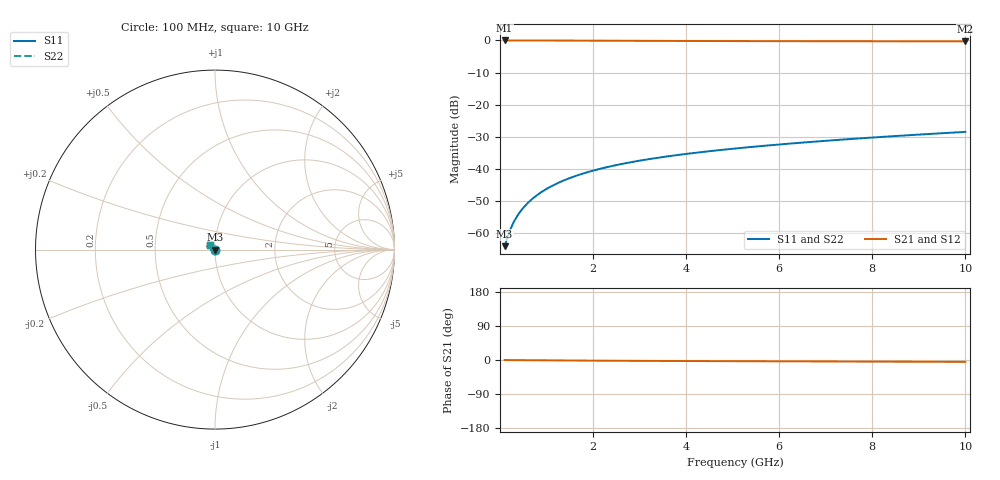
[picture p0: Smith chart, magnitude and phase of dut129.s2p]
! Touchstone file exported from HFSS 2024.1.0
!  File:  C:/UserFiles/LocalFiles/RDL_TSV_Batchsim/temp_TSV1_129_1779379394.aedt
!  Generated:  12:08:48 AM May 22, 2026
!  Design:  TSV1
!  Project:  temp_TSV1_129_1779379394
!  Setup:  Setup1
!  Solution:  Sweep
! Variables:
!  dtsv = 5.73um
!  hbump = 3um
!  htsv = 69.46um
!  lrdl = 252.1521522um
!  p = 40
!  p1 = 54.83um
!  t = 500um
!  trdl = 3um
!  wrdl = 24.89489489um
# GHz S MA R 50.000000
! Terminal data exported
! Port[1] = TSV22_T1
! Port[2] = TSV22_T2
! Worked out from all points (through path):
!   100 points, 100 MHz to 10 GHz, reference 50 ohm
!   highest |S21| = 0.00 dB at 100 MHz (marker M1); lowest = -0.3 dB at 10 GHz (marker M2)
!   lowest |S11| = -64.1 dB at 100 MHz (marker M3), VSWR 1.00, Z = 50 - j0.0504 ohm
!   |S11| at or under -10 dB: start of sweep to end of sweep
!   |S22| runs from -64.1 to -28.5 dB; largest |S21 - S12| = 6.1e-15
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0.1  0.000624 -53.8  0.9996 -0.1  0.9996 -0.1  0.000624 -53.8
! Gamma 0 0 0 0
! Port Impedance 50 0 50 0
0.2  0.001047 -73.5  0.9995 -0.2  0.9995 -0.2  0.001047 -73.5
0.3  0.00151 -83.2  0.9994 -0.3  0.9994 -0.3  0.00151 -83.2
0.4  0.001985 -89.5  0.9992 -0.4  0.9992 -0.4  0.001985 -89.5
0.5  0.002466 -94.4  0.999 -0.5  0.999 -0.5  0.002466 -94.4
0.6  0.002949 -98.5  0.9987 -0.6  0.9987 -0.6  0.002949 -98.5
0.7  0.003431 -102.1  0.9984 -0.7  0.9984 -0.7  0.003431 -102.1
0.8  0.003912 -105.4  0.9981 -0.7  0.9981 -0.7  0.003912 -105.4
0.9  0.004391 -108.5  0.9977 -0.8  0.9977 -0.8  0.004391 -108.5
1.1  0.005338 -114.3  0.9969 -1.0  0.9969 -1.0  0.005338 -114.3
1.4  0.006727 -122.3  0.9955 -1.2  0.9955 -1.2  0.006727 -122.3
1.6  0.007629 -127.3  0.9944 -1.4  0.9944 -1.4  0.007629 -127.3
1.8  0.00851 -132.1  0.9934 -1.5  0.9934 -1.5  0.00851 -132.1
2.1  0.009794 -138.9  0.9916 -1.7  0.9916 -1.7  0.009794 -138.9
2.5  0.01144 -147.3  0.9893 -2.0  0.9893 -2.0  0.01144 -147.3
2.9  0.01301 -155.0  0.9871 -2.2  0.9871 -2.2  0.01301 -155.0
3.4  0.01489 -163.8  0.9844 -2.5  0.9844 -2.5  0.01489 -163.8
4.2  0.01777 -176.0  0.9807 -2.8  0.9807 -2.8  0.01777 -176.0
5.1  0.02088 172.6  0.9773 -3.2  0.9773 -3.2  0.02088 172.6
6.7  0.02631 157.0  0.9729 -3.7  0.9729 -3.7  0.0263 157.0
8.4  0.03208 144.9  0.9698 -4.4  0.9698 -4.4  0.03208 144.9
10  0.03762 136.3  0.9676 -4.9  0.9676 -4.9  0.03762 136.3
